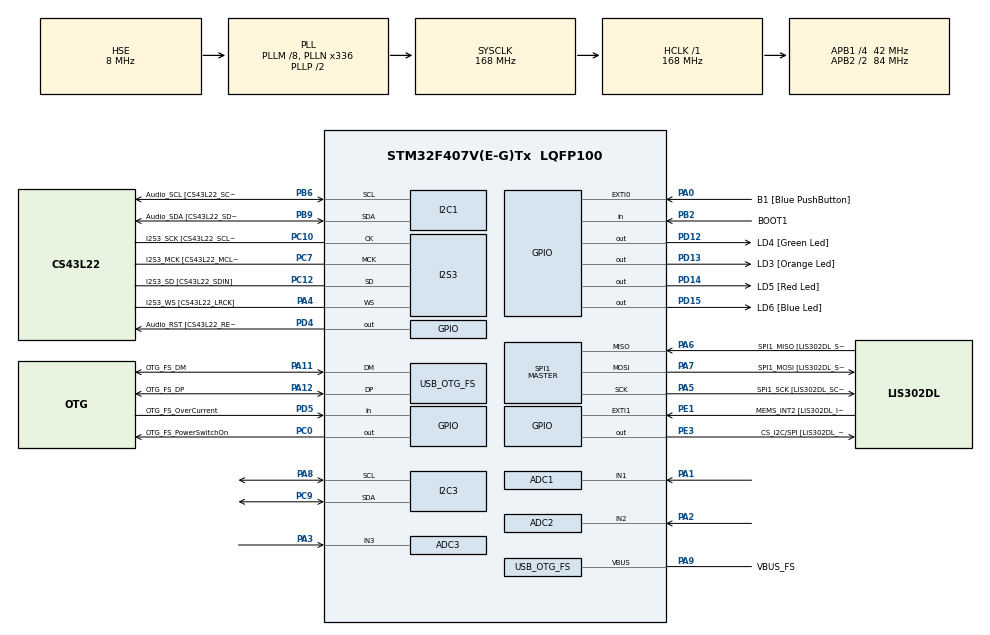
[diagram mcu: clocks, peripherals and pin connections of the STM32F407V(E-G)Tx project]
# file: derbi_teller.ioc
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ADC1.Channel-1\#ChannelRegularConversion=ADC_CHANNEL_1
ADC1.ContinuousConvMode=ENABLE
ADC1.NbrOfConversionFlag=1
ADC1.Rank-1\#ChannelRegularConversion=1
ADC1.SamplingTime-1\#ChannelRegularConversion=ADC_SAMPLETIME_3CYCLES
ADC1.master=1
ADC2.Channel-1\#ChannelRegularConversion=ADC_CHANNEL_2
ADC2.ContinuousConvMode=ENABLE
ADC2.NbrOfConversionFlag=1
ADC2.Rank-1\#ChannelRegularConversion=1
ADC2.SamplingTime-1\#ChannelRegularConversion=ADC_SAMPLETIME_3CYCLES
ADC3.Channel-2\#ChannelRegularConversion=ADC_CHANNEL_3
ADC3.ContinuousConvMode=ENABLE
ADC3.DMAContinuousRequests=ENABLE
ADC3.EOCSelection=ADC_EOC_SINGLE_CONV
ADC3.NbrOfConversionFlag=1
ADC3.Rank-2\#ChannelRegularConversion=1
ADC3.SamplingTime-2\#ChannelRegularConversion=ADC_SAMPLETIME_3CYCLES
Dma.ADC3.0.Direction=DMA_PERIPH_TO_MEMORY
Dma.ADC3.0.FIFOMode=DMA_FIFOMODE_DISABLE
Dma.ADC3.0.Instance=DMA2_Stream1
Dma.ADC3.0.MemDataAlignment=DMA_MDATAALIGN_WORD
Dma.ADC3.0.MemInc=DMA_MINC_ENABLE
Dma.ADC3.0.Mode=DMA_CIRCULAR
Dma.ADC3.0.PeriphDataAlignment=DMA_PDATAALIGN_WORD
Dma.ADC3.0.PeriphInc=DMA_PINC_DISABLE
Dma.ADC3.0.Priority=DMA_PRIORITY_HIGH
Dma.Request0=ADC3
I2C1.I2C_Mode=I2C_Fast
I2C3.I2C_Mode=I2C_Fast
I2S3.AudioFreq-Half_Duplex_Master=I2S_AUDIOFREQ_96K
I2S3.ErrorAudioFreq=-2.34 %
I2S3.ErrorAudioFreq-Half_Duplex_Master=0.8 %
I2S3.FullDuplexMode=I2S_FULLDUPLEXMODE_DISABLE
I2S3.Instance=SPI$Index
I2S3.RealAudioFreq=93.75 KHz
I2S3.RealAudioFreq-Half_Duplex_Master=96.774 KHz
I2S3.VirtualMode=I2S_MODE_MASTER
Mcu.Family=STM32F4
Mcu.Name=STM32F407V(E-G)Tx
Mcu.Package=LQFP100
NVIC.ADC_IRQn=true\:0\:0\:false\:false\:true\:true\:true\:true
NVIC.DMA2_Stream1_IRQn=true\:0\:0\:false\:false\:true\:false\:true\:true
NVIC.OTG_FS_IRQn=true\:0\:0\:false\:false\:true\:true\:true\:true
NVIC.PriorityGroup=NVIC_PRIORITYGROUP_0
PA0-WKUP.GPIO_Label=B1 [Blue PushButton]
PA0-WKUP.GPIO_ModeDefaultEXTI=GPIO_MODE_EVT_RISING
PA0-WKUP.GPIO_PuPd=GPIO_NOPULL
PA0-WKUP.Signal=GPXTI0
PA1.Signal=ADCx_IN1
PA10.GPIO_Label=OTG_FS_ID
PA10.GPIO_Mode=GPIO_MODE_AF_PP
PA10.GPIO_PuPd=GPIO_NOPULL
PA10.GPIO_Speed=GPIO_SPEED_FREQ_LOW
PA10.Signal=USB_OTG_FS_ID
PA11.GPIO_Label=OTG_FS_DM
PA11.GPIO_Mode=GPIO_MODE_AF_PP
PA11.GPIO_PuPd=GPIO_NOPULL
PA11.GPIO_Speed=GPIO_SPEED_FREQ_LOW
PA11.Mode=Host_Only
PA11.Signal=USB_OTG_FS_DM
PA12.GPIO_Label=OTG_FS_DP
PA12.GPIO_Mode=GPIO_MODE_AF_PP
PA12.GPIO_PuPd=GPIO_NOPULL
PA12.GPIO_Speed=GPIO_SPEED_FREQ_LOW
PA12.Mode=Host_Only
PA12.Signal=USB_OTG_FS_DP
PA13.GPIO_Label=SWDIO
PA13.Mode=Serial_Wire
PA13.Signal=SYS_JTMS-SWDIO
PA14.GPIO_Label=SWCLK
PA14.Mode=Serial_Wire
PA14.Signal=SYS_JTCK-SWCLK
PA2.Signal=ADCx_IN2
PA3.Signal=ADCx_IN3
PA4.GPIO_Label=I2S3_WS [CS43L22_LRCK]
PA4.GPIO_Mode=GPIO_MODE_AF_PP
PA4.GPIO_PuPd=GPIO_NOPULL
PA4.GPIO_Speed=GPIO_SPEED_FREQ_LOW
PA4.Mode=Half_Duplex_Master
PA4.Signal=I2S3_WS
PA5.GPIO_Label=SPI1_SCK [LIS302DL_SCL/SPC]
PA5.GPIO_Mode=GPIO_MODE_AF_PP
PA5.GPIO_PuPd=GPIO_NOPULL
PA5.GPIO_Speed=GPIO_SPEED_FREQ_LOW
PA5.Mode=Full_Duplex_Master
PA5.Signal=SPI1_SCK
PA6.GPIO_Label=SPI1_MISO [LIS302DL_SDO]
PA6.GPIO_Mode=GPIO_MODE_AF_PP
PA6.GPIO_PuPd=GPIO_NOPULL
PA6.GPIO_Speed=GPIO_SPEED_FREQ_LOW
PA6.Mode=Full_Duplex_Master
PA6.Signal=SPI1_MISO
PA7.GPIO_Label=SPI1_MOSI [LIS302DL_SDA/SDI/SDO]
PA7.GPIO_Mode=GPIO_MODE_AF_PP
PA7.GPIO_PuPd=GPIO_NOPULL
PA7.GPIO_Speed=GPIO_SPEED_FREQ_LOW
PA7.Mode=Full_Duplex_Master
PA7.Signal=SPI1_MOSI
PA8.Mode=I2C
PA8.Signal=I2C3_SCL
PA9.GPIO_Label=VBUS_FS
PA9.GPIO_Mode=GPIO_MODE_INPUT
PA9.GPIO_PuPd=GPIO_NOPULL
PA9.Mode=Activate_VBUS
PA9.Signal=USB_OTG_FS_VBUS
PB10.GPIO_Label=CLK_IN [MP45DT02_CLK]
PB10.GPIO_Mode=GPIO_MODE_AF_PP
PB10.GPIO_PuPd=GPIO_NOPULL
PB10.GPIO_Speed=GPIO_SPEED_FREQ_LOW
PB10.Signal=I2S2_CK
PB2.GPIO_Label=BOOT1
PB2.GPIO_Mode=GPIO_MODE_INPUT
PB2.GPIO_PuPd=GPIO_NOPULL
PB2.Signal=GPIO_Input
PB3.GPIO_Label=SWO
PB3.Signal=SYS_JTDO-SWO
PB6.GPIO_Label=Audio_SCL [CS43L22_SCL]
PB6.GPIO_Mode=GPIO_MODE_AF_OD
PB6.GPIO_Pu=GPIO_PULLUP
PB6.GPIO_PuPd=GPIO_NOPULL
PB6.GPIO_Speed=GPIO_SPEED_FREQ_LOW
PB6.Mode=I2C
PB6.Signal=I2C1_SCL
PB9.GPIO_Label=Audio_SDA [CS43L22_SDA]
PB9.GPIO_Mode=GPIO_MODE_AF_OD
PB9.GPIO_Pu=GPIO_PULLUP
PB9.GPIO_PuPd=GPIO_NOPULL
PB9.GPIO_Speed=GPIO_SPEED_FREQ_LOW
PB9.Mode=I2C
PB9.Signal=I2C1_SDA
PC0.GPIO_Label=OTG_FS_PowerSwitchOn
PC0.GPIO_PuPd=GPIO_NOPULL
PC0.GPIO_Speed=GPIO_SPEED_FREQ_LOW
PC0.PinState=GPIO_PIN_SET
PC0.Signal=GPIO_Output
PC10.GPIO_Label=I2S3_SCK [CS43L22_SCLK]
PC10.GPIO_Mode=GPIO_MODE_AF_PP
PC10.GPIO_PuPd=GPIO_NOPULL
PC10.GPIO_Speed=GPIO_SPEED_FREQ_LOW
PC10.Mode=Half_Duplex_Master
PC10.Signal=I2S3_CK
PC12.GPIO_Label=I2S3_SD [CS43L22_SDIN]
PC12.GPIO_Mode=GPIO_MODE_AF_PP
PC12.GPIO_PuPd=GPIO_NOPULL
PC12.GPIO_Speed=GPIO_SPEED_FREQ_LOW
PC12.Mode=Half_Duplex_Master
PC12.Signal=I2S3_SD
PC14-OSC32_IN.GPIO_Label=PC14-OSC32_IN
PC14-OSC32_IN.Mode=LSE-External-Oscillator
PC14-OSC32_IN.Signal=RCC_OSC32_IN
PC15-OSC32_OUT.GPIO_Label=PC15-OSC32_OUT
PC15-OSC32_OUT.Mode=LSE-External-Oscillator
PC15-OSC32_OUT.Signal=RCC_OSC32_OUT
PC3.GPIO_Label=PDM_OUT [MP45DT02_DOUT]
PC3.GPIO_Mode=GPIO_MODE_AF_PP
PC3.GPIO_PuPd=GPIO_NOPULL
PC3.GPIO_Speed=GPIO_SPEED_FREQ_LOW
PC3.Signal=I2S2_SD
PC7.GPIO_Label=I2S3_MCK [CS43L22_MCLK]
PC7.GPIO_Mode=GPIO_MODE_AF_PP
PC7.GPIO_PuPd=GPIO_NOPULL
PC7.GPIO_Speed=GPIO_SPEED_FREQ_LOW
PC7.Mode=Master_Clock_Activated
PC7.Signal=I2S3_MCK
PC9.Mode=I2C
PC9.Signal=I2C3_SDA
PD12.GPIO_Label=LD4 [Green Led]
PD12.GPIO_PuPd=GPIO_NOPULL
PD12.GPIO_Speed=GPIO_SPEED_FREQ_LOW
PD12.Signal=GPIO_Output
PD13.GPIO_Label=LD3 [Orange Led]
PD13.GPIO_PuPd=GPIO_NOPULL
PD13.GPIO_Speed=GPIO_SPEED_FREQ_LOW
PD13.Signal=GPIO_Output
PD14.GPIO_Label=LD5 [Red Led]
PD14.GPIO_PuPd=GPIO_NOPULL
PD14.GPIO_Speed=GPIO_SPEED_FREQ_LOW
PD14.Signal=GPIO_Output
PD15.GPIO_Label=LD6 [Blue Led]
PD15.GPIO_PuPd=GPIO_NOPULL
PD15.GPIO_Speed=GPIO_SPEED_FREQ_LOW
PD15.Signal=GPIO_Output
PD4.GPIO_Label=Audio_RST [CS43L22_RESET]
PD4.GPIO_PuPd=GPIO_NOPULL
PD4.GPIO_Speed=GPIO_SPEED_FREQ_LOW
PD4.Signal=GPIO_Output
PD5.GPIO_Label=OTG_FS_OverCurrent
PD5.GPIO_Mode=GPIO_MODE_INPUT
PD5.GPIO_PuPd=GPIO_NOPULL
PD5.Signal=GPIO_Input
PE1.GPIO_Label=MEMS_INT2 [LIS302DL_INT2]
PE1.GPIO_ModeDefaultEXTI=GPIO_MODE_EVT_RISING
PE1.GPIO_PuPd=GPIO_NOPULL
PE1.Signal=GPXTI1
PE3.GPIO_Label=CS_I2C/SPI [LIS302DL_CS_I2C/SPI]
PE3.GPIO_PuPd=GPIO_NOPULL
PE3.GPIO_Speed=GPIO_SPEED_FREQ_LOW
PE3.Signal=GPIO_Output
PH0-OSC_IN.GPIO_Label=PH0-OSC_IN
PH0-OSC_IN.Mode=HSE-External-Oscillator
PH0-OSC_IN.Signal=RCC_OSC_IN
PH1-OSC_OUT.GPIO_Label=PH1-OSC_OUT
PH1-OSC_OUT.Mode=HSE-External-Oscillator
PH1-OSC_OUT.Signal=RCC_OSC_OUT
ProjectManager.HeapSize=0x200
ProjectManager.StackSize=0x400
ProjectManager.TargetToolchain=CMake
RCC.48MHZClocksFreq_Value=48000000
RCC.AHBFreq_Value=168000000
RCC.APB1CLKDivider=RCC_HCLK_DIV4
RCC.APB1Freq_Value=42000000
RCC.APB1TimFreq_Value=84000000
RCC.APB2CLKDivider=RCC_HCLK_DIV2
RCC.APB2Freq_Value=84000000
RCC.APB2TimFreq_Value=168000000
RCC.CortexFreq_Value=168000000
RCC.HCLKFreq_Value=168000000
RCC.HSE_VALUE=8000000
RCC.HSI_VALUE=16000000
RCC.PLLM=8
RCC.PLLN=336
RCC.PLLQ=7
RCC.SYSCLKFreq_VALUE=168000000
RCC.SYSCLKSource=RCC_SYSCLKSOURCE_PLLCLK
RCC.VCOOutputFreq_Value=336000000
SH.ADCx_IN1.0=ADC1_IN1,IN1
SH.ADCx_IN2.0=ADC2_IN2,IN2
SH.ADCx_IN3.0=ADC3_IN3,IN3
SPI1.BaudRatePrescaler-Full_Duplex_Master=SPI_BAUDRATEPRESCALER_2
SPI1.CalculateBaudRate-Full_Duplex_Master=42.0 MBits/s
SPI1.Direction=SPI_DIRECTION_2LINES
SPI1.Mode=SPI_MODE_MASTER
SPI1.Mode-Full_Duplex_Master=SPI_MODE_MASTER
SPI1.VirtualType=VM_MASTER
STMicroelectronics.X-CUBE-ALGOBUILD.1.4.0.LibraryCcDSPOoLibraryJjDSPOoLibrary=true
USB_HOST.BSP.number=1
USB_HOST.USBH_HandleTypeDef-CDC_FS=hUsbHostFS
USB_HOST.VirtualModeFS=Cdc
USB_HOST0.BSP.STBoard=false
USB_HOST0.BSP.api=Unknown
USB_HOST0.BSP.instance=PC0
USB_HOST0.BSP.ip=GPIO
USB_HOST0.BSP.mode=Output
USB_HOST0.BSP.name=Drive_VBUS_FS
USB_HOST0.BSP.solution=PC0
USB_OTG_FS.VirtualMode=Host_Only
USB_OTG_FS.phy_itface=HCD_PHY_EMBEDDED
VP_STMicroelectronics.X-CUBE-ALGOBUILD_VS_DSPOoLibraryJjLibrary_1.4.0_1.4.0.Mode=DSPOoLibraryJjLibrary
VP_USB_HOST_VS_USB_HOST_CDC_FS.Mode=CDC_FS
board=STM32F407G-DISC1

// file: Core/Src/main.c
/* USER CODE BEGIN Header */
/**
  ******************************************************************************
  * @file           : main.c
  * @brief          : Main program body
  ******************************************************************************
  * @attention
  *
  * Copyright (c) 2024 STMicroelectronics.
  * All rights reserved.
  *
  * This software is licensed under terms that can be found in the LICENSE file
  * in the root directory of this software component.
  * If no LICENSE file comes with this software, it is provided AS-IS.
  *
  ******************************************************************************
  */
/* USER CODE END Header */
#include "main.h"
#include "usb_host.h"

/* USER CODE BEGIN PD */
#define ARM_MATH_M4
/* USER CODE END PD */

ADC_HandleTypeDef hadc1;
ADC_HandleTypeDef hadc2;
ADC_HandleTypeDef hadc3;
DMA_HandleTypeDef hdma_adc3;

I2C_HandleTypeDef hi2c1;
I2C_HandleTypeDef hi2c3;

I2S_HandleTypeDef hi2s3;

SPI_HandleTypeDef hspi1;

/* USER CODE BEGIN PV */
uint32_t adc3_dmabuf[ADCBUF];
uint32_t value_adc;
uint32_t value_dac=0;

/* USER CODE END PV */

void SystemClock_Config(void);
static void MX_GPIO_Init(void);
static void MX_DMA_Init(void);
static void MX_I2C1_Init(void);
static void MX_I2S3_Init(void);
static void MX_SPI1_Init(void);
static void MX_I2C3_Init(void);
static void MX_ADC1_Init(void);
static void MX_ADC2_Init(void);
static void MX_ADC3_Init(void);
void MX_USB_HOST_Process(void);

int main(void)
{

  /* MCU Configuration--------------------------------------------------------*/

  /* Reset of all peripherals, Initializes the Flash interface and the Systick. */
  HAL_Init();

  /* Configure the system clock */
  SystemClock_Config();

  /* Initialize all configured peripherals */
  MX_GPIO_Init();
  MX_DMA_Init();
  MX_I2C1_Init();
  MX_I2S3_Init();
  MX_SPI1_Init();
  MX_USB_HOST_Init();
  MX_I2C3_Init();
  MX_ADC1_Init();
  MX_ADC2_Init();
  MX_ADC3_Init();
  /* USER CODE BEGIN 2 */

  SSD1306_Init (&hi2c3); // initialise the display
  SSD1306_Init (&hi2c1);
  SSD1306_Fill(SSD1306_COLOR_BLACK);
  SSD1306_UpdateScreen(&hi2c3);
  SSD1306_Fill(SSD1306_COLOR_BLACK);
  SSD1306_UpdateScreen(&hi2c1);

  HAL_ADC_Start_DMA(&hadc3, (uint32_t*)&adc3_dmabuf, ADCBUF);
  /* USER CODE END 2 */

  /* Infinite loop */
  /* USER CODE BEGIN WHILE */
  while (1)
  {
    buttons();
    samplefreq();
   // calcfreq();
    //speed();

     //SSD1306_UpdateScreen(&hi2c1);

    /* USER CODE END WHILE */
    MX_USB_HOST_Process();

  }
}

void SystemClock_Config(void)
{
  RCC_OscInitTypeDef RCC_OscInitStruct = {0};
  RCC_ClkInitTypeDef RCC_ClkInitStruct = {0};

  /** Configure the main internal regulator output voltage
  */
  __HAL_RCC_PWR_CLK_ENABLE();
  __HAL_PWR_VOLTAGESCALING_CONFIG(PWR_REGULATOR_VOLTAGE_SCALE1);

  /** Initializes the RCC Oscillators according to the specified parameters
  * in the RCC_OscInitTypeDef structure.
  */
  RCC_OscInitStruct.OscillatorType = RCC_OSCILLATORTYPE_HSE;
  RCC_OscInitStruct.HSEState = RCC_HSE_ON;
  RCC_OscInitStruct.PLL.PLLState = RCC_PLL_ON;
  RCC_OscInitStruct.PLL.PLLSource = RCC_PLLSOURCE_HSE;
  RCC_OscInitStruct.PLL.PLLM = 8;
  RCC_OscInitStruct.PLL.PLLN = 336;
  RCC_OscInitStruct.PLL.PLLP = RCC_PLLP_DIV2;
  RCC_OscInitStruct.PLL.PLLQ = 7;
  if (HAL_RCC_OscConfig(&RCC_OscInitStruct) != HAL_OK)
  {
    Error_Handler();
  }

  /** Initializes the CPU, AHB and APB buses clocks
  */
  RCC_ClkInitStruct.ClockType = RCC_CLOCKTYPE_HCLK|RCC_CLOCKTYPE_SYSCLK
                              |RCC_CLOCKTYPE_PCLK1|RCC_CLOCKTYPE_PCLK2;
  RCC_ClkInitStruct.SYSCLKSource = RCC_SYSCLKSOURCE_PLLCLK;
  RCC_ClkInitStruct.AHBCLKDivider = RCC_SYSCLK_DIV1;
  RCC_ClkInitStruct.APB1CLKDivider = RCC_HCLK_DIV4;
  RCC_ClkInitStruct.APB2CLKDivider = RCC_HCLK_DIV2;

  if (HAL_RCC_ClockConfig(&RCC_ClkInitStruct, FLASH_LATENCY_5) != HAL_OK)
  {
    Error_Handler();
  }
}

static void MX_ADC1_Init(void)
{

  ADC_ChannelConfTypeDef sConfig = {0};

  /** Configure the global features of the ADC (Clock, Resolution, Data Alignment and number of conversion)
  */
  hadc1.Instance = ADC1;
  hadc1.Init.ClockPrescaler = ADC_CLOCK_SYNC_PCLK_DIV4;
  hadc1.Init.Resolution = ADC_RESOLUTION_12B;
  hadc1.Init.ScanConvMode = DISABLE;
  hadc1.Init.ContinuousConvMode = ENABLE;
  hadc1.Init.DiscontinuousConvMode = DISABLE;
  hadc1.Init.ExternalTrigConvEdge = ADC_EXTERNALTRIGCONVEDGE_NONE;
  hadc1.Init.ExternalTrigConv = ADC_SOFTWARE_START;
  hadc1.Init.DataAlign = ADC_DATAALIGN_RIGHT;
  hadc1.Init.NbrOfConversion = 1;
  hadc1.Init.DMAContinuousRequests = DISABLE;
  hadc1.Init.EOCSelection = ADC_EOC_SINGLE_CONV;
  if (HAL_ADC_Init(&hadc1) != HAL_OK)
  {
    Error_Handler();
  }

  /** Configure for the selected ADC regular channel its corresponding rank in the sequencer and its sample time.
  */
  sConfig.Channel = ADC_CHANNEL_1;
  sConfig.Rank = 1;
  sConfig.SamplingTime = ADC_SAMPLETIME_3CYCLES;
  if (HAL_ADC_ConfigChannel(&hadc1, &sConfig) != HAL_OK)
  {
    Error_Handler();
  }

}

static void MX_ADC2_Init(void)
{

  ADC_ChannelConfTypeDef sConfig = {0};

  /** Configure the global features of the ADC (Clock, Resolution, Data Alignment and number of conversion)
  */
  hadc2.Instance = ADC2;
  hadc2.Init.ClockPrescaler = ADC_CLOCK_SYNC_PCLK_DIV4;
  hadc2.Init.Resolution = ADC_RESOLUTION_12B;
  hadc2.Init.ScanConvMode = DISABLE;
  hadc2.Init.ContinuousConvMode = ENABLE;
  hadc2.Init.DiscontinuousConvMode = DISABLE;
  hadc2.Init.ExternalTrigConvEdge = ADC_EXTERNALTRIGCONVEDGE_NONE;
  hadc2.Init.ExternalTrigConv = ADC_SOFTWARE_START;
  hadc2.Init.DataAlign = ADC_DATAALIGN_RIGHT;
  hadc2.Init.NbrOfConversion = 1;
  hadc2.Init.DMAContinuousRequests = DISABLE;
  hadc2.Init.EOCSelection = ADC_EOC_SINGLE_CONV;
  if (HAL_ADC_Init(&hadc2) != HAL_OK)
  {
    Error_Handler();
  }

  /** Configure for the selected ADC regular channel its corresponding rank in the sequencer and its sample time.
  */
  sConfig.Channel = ADC_CHANNEL_2;
  sConfig.Rank = 1;
  sConfig.SamplingTime = ADC_SAMPLETIME_3CYCLES;
  if (HAL_ADC_ConfigChannel(&hadc2, &sConfig) != HAL_OK)
  {
    Error_Handler();
  }

}

static void MX_ADC3_Init(void)
{

  ADC_ChannelConfTypeDef sConfig = {0};

  /** Configure the global features of the ADC (Clock, Resolution, Data Alignment and number of conversion)
  */
  hadc3.Instance = ADC3;
  hadc3.Init.ClockPrescaler = ADC_CLOCK_SYNC_PCLK_DIV4;
  hadc3.Init.Resolution = ADC_RESOLUTION_12B;
  hadc3.Init.ScanConvMode = DISABLE;
  hadc3.Init.ContinuousConvMode = ENABLE;
  hadc3.Init.DiscontinuousConvMode = DISABLE;
  hadc3.Init.ExternalTrigConvEdge = ADC_EXTERNALTRIGCONVEDGE_NONE;
  hadc3.Init.ExternalTrigConv = ADC_SOFTWARE_START;
  hadc3.Init.DataAlign = ADC_DATAALIGN_RIGHT;
  hadc3.Init.NbrOfConversion = 1;
  hadc3.Init.DMAContinuousRequests = ENABLE;
  hadc3.Init.EOCSelection = ADC_EOC_SINGLE_CONV;
  if (HAL_ADC_Init(&hadc3) != HAL_OK)
  {
    Error_Handler();
  }

  /** Configure for the selected ADC regular channel its corresponding rank in the sequencer and its sample time.
  */
  sConfig.Channel = ADC_CHANNEL_3;
  sConfig.Rank = 1;
  sConfig.SamplingTime = ADC_SAMPLETIME_3CYCLES;
  if (HAL_ADC_ConfigChannel(&hadc3, &sConfig) != HAL_OK)
  {
    Error_Handler();
  }

}

static void MX_I2C1_Init(void)
{

  hi2c1.Instance = I2C1;
  hi2c1.Init.ClockSpeed = 400000;
  hi2c1.Init.DutyCycle = I2C_DUTYCYCLE_2;
  hi2c1.Init.OwnAddress1 = 0;
  hi2c1.Init.AddressingMode = I2C_ADDRESSINGMODE_7BIT;
  hi2c1.Init.DualAddressMode = I2C_DUALADDRESS_DISABLE;
  hi2c1.Init.OwnAddress2 = 0;
  hi2c1.Init.GeneralCallMode = I2C_GENERALCALL_DISABLE;
  hi2c1.Init.NoStretchMode = I2C_NOSTRETCH_DISABLE;
  if (HAL_I2C_Init(&hi2c1) != HAL_OK)
  {
    Error_Handler();
  }

}

static void MX_I2C3_Init(void)
{

  hi2c3.Instance = I2C3;
  hi2c3.Init.ClockSpeed = 400000;
  hi2c3.Init.DutyCycle = I2C_DUTYCYCLE_2;
  hi2c3.Init.OwnAddress1 = 0;
  hi2c3.Init.AddressingMode = I2C_ADDRESSINGMODE_7BIT;
  hi2c3.Init.DualAddressMode = I2C_DUALADDRESS_DISABLE;
  hi2c3.Init.OwnAddress2 = 0;
  hi2c3.Init.GeneralCallMode = I2C_GENERALCALL_DISABLE;
  hi2c3.Init.NoStretchMode = I2C_NOSTRETCH_DISABLE;
  if (HAL_I2C_Init(&hi2c3) != HAL_OK)
  {
    Error_Handler();
  }

}

static void MX_I2S3_Init(void)
{

  hi2s3.Instance = SPI3;
  hi2s3.Init.Mode = I2S_MODE_MASTER_TX;
  hi2s3.Init.Standard = I2S_STANDARD_PHILIPS;
  hi2s3.Init.DataFormat = I2S_DATAFORMAT_16B;
  hi2s3.Init.MCLKOutput = I2S_MCLKOUTPUT_ENABLE;
  hi2s3.Init.AudioFreq = I2S_AUDIOFREQ_96K;
  hi2s3.Init.CPOL = I2S_CPOL_LOW;
  hi2s3.Init.ClockSource = I2S_CLOCK_PLL;
  hi2s3.Init.FullDuplexMode = I2S_FULLDUPLEXMODE_DISABLE;
  if (HAL_I2S_Init(&hi2s3) != HAL_OK)
  {
    Error_Handler();
  }

}

static void MX_SPI1_Init(void)
{

  /* SPI1 parameter configuration*/
  hspi1.Instance = SPI1;
  hspi1.Init.Mode = SPI_MODE_MASTER;
  hspi1.Init.Direction = SPI_DIRECTION_2LINES;
  hspi1.Init.DataSize = SPI_DATASIZE_8BIT;
  hspi1.Init.CLKPolarity = SPI_POLARITY_LOW;
  hspi1.Init.CLKPhase = SPI_PHASE_1EDGE;
  hspi1.Init.NSS = SPI_NSS_SOFT;
  hspi1.Init.BaudRatePrescaler = SPI_BAUDRATEPRESCALER_2;
  hspi1.Init.FirstBit = SPI_FIRSTBIT_MSB;
  hspi1.Init.TIMode = SPI_TIMODE_DISABLE;
  hspi1.Init.CRCCalculation = SPI_CRCCALCULATION_DISABLE;
  hspi1.Init.CRCPolynomial = 10;
  if (HAL_SPI_Init(&hspi1) != HAL_OK)
  {
    Error_Handler();
  }

}

static void MX_DMA_Init(void)
{

  /* DMA controller clock enable */
  __HAL_RCC_DMA2_CLK_ENABLE();

  /* DMA interrupt init */
  /* DMA2_Stream1_IRQn interrupt configuration */
  HAL_NVIC_SetPriority(DMA2_Stream1_IRQn, 0, 0);
  HAL_NVIC_EnableIRQ(DMA2_Stream1_IRQn);

}

static void MX_GPIO_Init(void)
{
  GPIO_InitTypeDef GPIO_InitStruct = {0};

  /* GPIO Ports Clock Enable */
  __HAL_RCC_GPIOE_CLK_ENABLE();
  __HAL_RCC_GPIOC_CLK_ENABLE();
  __HAL_RCC_GPIOH_CLK_ENABLE();
  __HAL_RCC_GPIOA_CLK_ENABLE();
  __HAL_RCC_GPIOB_CLK_ENABLE();
  __HAL_RCC_GPIOD_CLK_ENABLE();

  /*Configure GPIO pin Output Level */
  HAL_GPIO_WritePin(CS_I2C_SPI_GPIO_Port, CS_I2C_SPI_Pin, GPIO_PIN_RESET);

  /*Configure GPIO pin Output Level */
  HAL_GPIO_WritePin(OTG_FS_PowerSwitchOn_GPIO_Port, OTG_FS_PowerSwitchOn_Pin, GPIO_PIN_SET);

  /*Configure GPIO pin Output Level */
  HAL_GPIO_WritePin(GPIOD, LD4_Pin|LD3_Pin|LD5_Pin|LD6_Pin
                          |Audio_RST_Pin, GPIO_PIN_RESET);

  /*Configure GPIO pin : CS_I2C_SPI_Pin */
  GPIO_InitStruct.Pin = CS_I2C_SPI_Pin;
  GPIO_InitStruct.Mode = GPIO_MODE_OUTPUT_PP;
  GPIO_InitStruct.Pull = GPIO_NOPULL;
  GPIO_InitStruct.Speed = GPIO_SPEED_FREQ_LOW;
  HAL_GPIO_Init(CS_I2C_SPI_GPIO_Port, &GPIO_InitStruct);

  /*Configure GPIO pin : OTG_FS_PowerSwitchOn_Pin */
  GPIO_InitStruct.Pin = OTG_FS_PowerSwitchOn_Pin;
  GPIO_InitStruct.Mode = GPIO_MODE_OUTPUT_PP;
  GPIO_InitStruct.Pull = GPIO_NOPULL;
  GPIO_InitStruct.Speed = GPIO_SPEED_FREQ_LOW;
  HAL_GPIO_Init(OTG_FS_PowerSwitchOn_GPIO_Port, &GPIO_InitStruct);

  /*Configure GPIO pin : PDM_OUT_Pin */
  GPIO_InitStruct.Pin = PDM_OUT_Pin;
  GPIO_InitStruct.Mode = GPIO_MODE_AF_PP;
  GPIO_InitStruct.Pull = GPIO_NOPULL;
  GPIO_InitStruct.Speed = GPIO_SPEED_FREQ_LOW;
  GPIO_InitStruct.Alternate = GPIO_AF5_SPI2;
  HAL_GPIO_Init(PDM_OUT_GPIO_Port, &GPIO_InitStruct);

  /*Configure GPIO pin : B1_Pin */
  GPIO_InitStruct.Pin = B1_Pin;
  GPIO_InitStruct.Mode = GPIO_MODE_EVT_RISING;
  GPIO_InitStruct.Pull = GPIO_NOPULL;
  HAL_GPIO_Init(B1_GPIO_Port, &GPIO_InitStruct);

  /*Configure GPIO pin : BOOT1_Pin */
  GPIO_InitStruct.Pin = BOOT1_Pin;
  GPIO_InitStruct.Mode = GPIO_MODE_INPUT;
  GPIO_InitStruct.Pull = GPIO_NOPULL;
  HAL_GPIO_Init(BOOT1_GPIO_Port, &GPIO_InitStruct);

  /*Configure GPIO pin : CLK_IN_Pin */
  GPIO_InitStruct.Pin = CLK_IN_Pin;
  GPIO_InitStruct.Mode = GPIO_MODE_AF_PP;
  GPIO_InitStruct.Pull = GPIO_NOPULL;
  GPIO_InitStruct.Speed = GPIO_SPEED_FREQ_LOW;
  GPIO_InitStruct.Alternate = GPIO_AF5_SPI2;
  HAL_GPIO_Init(CLK_IN_GPIO_Port, &GPIO_InitStruct);

  /*Configure GPIO pins : LD4_Pin LD3_Pin LD5_Pin LD6_Pin
                           Audio_RST_Pin */
  GPIO_InitStruct.Pin = LD4_Pin|LD3_Pin|LD5_Pin|LD6_Pin
                          |Audio_RST_Pin;
  GPIO_InitStruct.Mode = GPIO_MODE_OUTPUT_PP;
  GPIO_InitStruct.Pull = GPIO_NOPULL;
  GPIO_InitStruct.Speed = GPIO_SPEED_FREQ_LOW;
  HAL_GPIO_Init(GPIOD, &GPIO_InitStruct);

  /*Configure GPIO pin : OTG_FS_OverCurrent_Pin */
  GPIO_InitStruct.Pin = OTG_FS_OverCurrent_Pin;
  GPIO_InitStruct.Mode = GPIO_MODE_INPUT;
  GPIO_InitStruct.Pull = GPIO_NOPULL;
  HAL_GPIO_Init(OTG_FS_OverCurrent_GPIO_Port, &GPIO_InitStruct);

  /*Configure GPIO pin : MEMS_INT2_Pin */
  GPIO_InitStruct.Pin = MEMS_INT2_Pin;
  GPIO_InitStruct.Mode = GPIO_MODE_EVT_RISING;
  GPIO_InitStruct.Pull = GPIO_NOPULL;
  HAL_GPIO_Init(MEMS_INT2_GPIO_Port, &GPIO_InitStruct);

}

/* USER CODE BEGIN 4 */
void HAL_ADC_ConvCpltCallback(ADC_HandleTypeDef* hadc) {
  if (hadc == &hadc3)
	{
    process_halfbuf();
  }
}
/* USER CODE END 4 */

void Error_Handler(void)
{
  __disable_irq();
  while (1)
  {
  }
}
